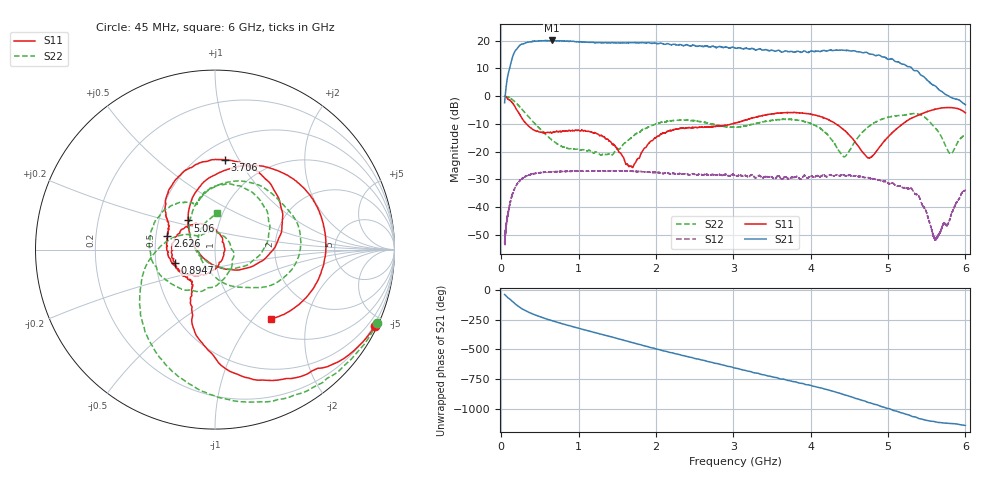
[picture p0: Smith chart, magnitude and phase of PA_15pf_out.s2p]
!Agilent Technologies,E8364A,US41440144,A.06.04.32
!Agilent E8364A: A.06.04.32
!Date: Thursday, November 08, 2018 15:10:03
!Correction: S11(Full 2 Port(1,2)) S21(Full 2 Port(1,2)) S12(Full 2 Port(1,2)) S22(Full 2 Port(1,2))
!S2P File: Measurements: S11, S21, S12, S22:
# Hz S  dB  R 50
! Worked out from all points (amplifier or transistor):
!   16001 points, 45 MHz to 6 GHz, reference 50 ohm
!   highest |S21| = 20.1 dB at 653.5 MHz (marker M1)
!   |S21| within 3 dB of that: 204.5 MHz to 3.122 GHz (2.917 GHz wide, 175 % of centre)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
!   unconditionally stable (mu >= 1): start of sweep to end of sweep
!   at 1.037 GHz: K = 1.30, MAG = 20.0 dB, |S12| = -27.1 dB
!   at 3.022 GHz: K = 1.71, MAG = 18.1 dB, |S12| = -28.6 dB
!   at 6 GHz: K = 25.90, MAG = -1.7 dB, |S12| = -33.9 dB
!   S11 on the Smith chart (normalised r, x): 45 MHz: 0.12, -4.43; 894.7 MHz: 0.63, -0.10; 2.626 GHz: 0.57, +0.10; 3.706 GHz: 0.65, +0.88; 5.06 GHz: 0.70, +0.24; 6 GHz: 1.21, -1.24
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4.5e7  -0.10 -25.4  -2.41 -41.6  -53.22 164.0  -0.09 -24.4
1.890366e8  -4.35 -89.8  16.54 -123.5  -32.49 72.5  -2.34 -100.6
3.420056e8  -10.45 -117.1  19.42 175.5  -28.63 14.8  -7.02 -157.2
6.535266e8  -13.28 -134.8  20.05 101.2  -27.32 -53.6  -15.78 149.5
8.947041e8  -12.56 -162.1  19.79 56.3  -27.13 -93.8  -18.99 138.7
1.037624e9  -12.40 179.1  19.48 30.4  -27.05 -115.6  -19.40 124.2
1.328675e9  -14.68 128.8  19.20 -18.8  -27.02 -158.8  -20.98 51.4
1.593672e9  -23.06 52.4  19.20 -65.2  -27.05 162.4  -17.00 -52.4
2.030248e9  -14.44 -131.9  18.92 -139.7  -27.55 100.6  -9.85 -148.6
2.309017e9  -11.65 -170.8  18.58 175.9  -27.96 63.3  -8.66 168.1
2.62612e9  -11.16 163.9  17.96 128.0  -28.30 22.5  -9.48 130.9
3.0225e9  -9.74 146.6  17.34 64.2  -28.62 -33.2  -11.25 111.1
3.348536e9  -7.21 122.7  16.99 14.2  -28.79 -77.2  -9.54 97.0
3.706208e9  -5.94 83.8  16.06 -38.8  -29.75 -122.7  -8.41 60.6
4.015124e9  -6.65 44.5  16.24 -83.4  -28.83 -163.4  -10.08 16.3
4.252952e9  -8.88 9.6  16.58 -123.2  -28.34 161.6  -15.13 -33.1
4.536187e9  -15.11 -39.9  16.29 -178.0  -28.81 112.5  -18.14 169.1
4.748333e9  -22.35 -124.2  15.34 136.4  -29.44 73.4  -11.00 111.0
5.007748e9  -14.57 141.6  13.25 85.9  -31.52 25.2  -7.61 64.9
5.059854e9  -13.09 132.7  13.30 73.3  -31.42 15.8  -7.29 56.7
5.477077e9  -5.94 68.4  6.60 -9.6  -40.60 -85.1  -7.70 -22.5
6e9  -6.07 -50.9  -3.15 -54.7  -33.95 -111.9  -13.72 87.5
